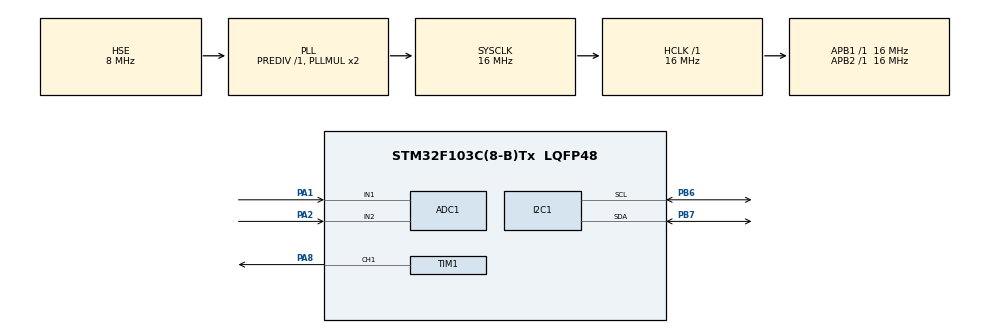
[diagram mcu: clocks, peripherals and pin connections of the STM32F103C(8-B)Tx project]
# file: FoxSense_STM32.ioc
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ADC1.Channel-2\#ChannelRegularConversion=ADC_CHANNEL_1
ADC1.Channel-3\#ChannelRegularConversion=ADC_CHANNEL_2
ADC1.ExternalTrigConv=ADC_EXTERNALTRIGCONV_T1_CC1
ADC1.NbrOfConversion=2
ADC1.NbrOfConversionFlag=1
ADC1.Rank-2\#ChannelRegularConversion=1
ADC1.Rank-3\#ChannelRegularConversion=2
ADC1.SamplingTime-2\#ChannelRegularConversion=ADC_SAMPLETIME_41CYCLES_5
ADC1.SamplingTime-3\#ChannelRegularConversion=ADC_SAMPLETIME_41CYCLES_5
ADC1.master=1
Dma.ADC1.0.Direction=DMA_PERIPH_TO_MEMORY
Dma.ADC1.0.Instance=DMA1_Channel1
Dma.ADC1.0.MemDataAlignment=DMA_MDATAALIGN_HALFWORD
Dma.ADC1.0.MemInc=DMA_MINC_ENABLE
Dma.ADC1.0.Mode=DMA_CIRCULAR
Dma.ADC1.0.PeriphDataAlignment=DMA_PDATAALIGN_HALFWORD
Dma.ADC1.0.PeriphInc=DMA_PINC_DISABLE
Dma.ADC1.0.Priority=DMA_PRIORITY_LOW
Dma.Request0=ADC1
I2C1.I2C_Mode=I2C_Fast
Mcu.Family=STM32F1
Mcu.Name=STM32F103C(8-B)Tx
Mcu.Package=LQFP48
NVIC.DMA1_Channel1_IRQn=true\:0\:0\:false\:false\:true\:false\:true\:true
NVIC.PriorityGroup=NVIC_PRIORITYGROUP_4
PA1.Signal=ADCx_IN1
PA13.Mode=Serial_Wire
PA13.Signal=SYS_JTMS-SWDIO
PA14.Mode=Serial_Wire
PA14.Signal=SYS_JTCK-SWCLK
PA2.Signal=ADCx_IN2
PA8.Signal=S_TIM1_CH1
PB6.Mode=I2C
PB6.Signal=I2C1_SCL
PB7.Mode=I2C
PB7.Signal=I2C1_SDA
PD0-OSC_IN.Mode=HSE-External-Oscillator
PD0-OSC_IN.Signal=RCC_OSC_IN
PD1-OSC_OUT.Mode=HSE-External-Oscillator
PD1-OSC_OUT.Signal=RCC_OSC_OUT
ProjectManager.HeapSize=0x200
ProjectManager.StackSize=0x400
ProjectManager.TargetToolchain=STM32CubeIDE
RCC.ADCPresc=RCC_ADCPCLK2_DIV8
RCC.AHBFreq_Value=16000000
RCC.APB1Freq_Value=16000000
RCC.APB1TimFreq_Value=16000000
RCC.APB2Freq_Value=16000000
RCC.APB2TimFreq_Value=16000000
RCC.HCLKFreq_Value=16000000
RCC.PLLSourceVirtual=RCC_PLLSOURCE_HSE
RCC.SYSCLKFreq_VALUE=16000000
RCC.SYSCLKSource=RCC_SYSCLKSOURCE_PLLCLK
RCC.USBFreq_Value=16000000
SH.ADCx_IN1.0=ADC1_IN1,IN1
SH.ADCx_IN2.0=ADC1_IN2,IN2
SH.S_TIM1_CH1.0=TIM1_CH1,PWM Generation1 CH1
TIM1.Channel-PWM\ Generation1\ CH1=TIM_CHANNEL_1
TIM1.Period=1000-1
TIM1.Prescaler=8000-1
TIM1.Pulse-PWM\ Generation1\ CH1=1000/2
board=custom

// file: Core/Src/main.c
/* USER CODE BEGIN Header */
/**
  ******************************************************************************
  * @file           : main.c
  * @brief          : Main program body
  ******************************************************************************
  * @attention
  *
  * Copyright (c) 2026 STMicroelectronics.
  * All rights reserved.
  *
  * This software is licensed under terms that can be found in the LICENSE file
  * in the root directory of this software component.
  * If no LICENSE file comes with this software, it is provided AS-IS.
  *
  ******************************************************************************
  */
/* USER CODE END Header */
#include "main.h"

/* USER CODE BEGIN Includes */
#include "ssd1306.h"		//OLED Driver
#include "fonts.h"			//used for writing text on OLED
#include "stdio.h"			//used for sprintf() function

#include "degree_C.h"		//°C image
#include "bulb.h"			//bulb image
#include "moon.h"			//moon image

/* USER CODE END Includes */

ADC_HandleTypeDef hadc1;
DMA_HandleTypeDef hdma_adc1;

I2C_HandleTypeDef hi2c1;

TIM_HandleTypeDef htim1;

/* USER CODE BEGIN PV */
uint16_t ADC_Values[2];				// this array Stores ADC numbers 0-4095
uint16_t Temperature_Array[5];		// this array will be used to calculate average of Temperature
uint8_t i = 0;						// this is the temperature counter index
uint16_t Temperature;				// Stores LM35 output (temperature sensor) in ° Celsius
uint16_t Light_intensity;			// Stores light intensity in percent

char buffer[6];						// it is used to show temperature on OLED

/* USER CODE END PV */

void SystemClock_Config(void);
static void MX_GPIO_Init(void);
static void MX_DMA_Init(void);
static void MX_ADC1_Init(void);
static void MX_TIM1_Init(void);
static void MX_I2C1_Init(void);

int main(void)
{

  /* MCU Configuration--------------------------------------------------------*/

  /* Reset of all peripherals, Initializes the Flash interface and the Systick. */
  HAL_Init();

  /* Configure the system clock */
  SystemClock_Config();

  /* Initialize all configured peripherals */
  MX_GPIO_Init();
  MX_DMA_Init();
  MX_ADC1_Init();
  MX_TIM1_Init();
  MX_I2C1_Init();
  /* USER CODE BEGIN 2 */
  SSD1306_Init();
  /* USER CODE END 2 */

  /* Infinite loop */
  /* USER CODE BEGIN WHILE */
  while (1)
  {
	  //---Show temperature on OLED-------
	  sprintf(buffer, "%d", Temperature);
	  SSD1306_GotoXY (5,25);
	  SSD1306_Puts(buffer, &Font_16x26, 1);

	  //---Show °C image on OLED-------
	  SSD1306_DrawBitmap(0, 0, degree_C, 128, 64, 1);

	  //---Show bulb/moon image on OLED
	  if(Light_intensity > 30)						//if there is enough lights
	  SSD1306_DrawBitmap(0, 0, bulb, 128, 64, 1);

	  if(Light_intensity <= 30)						//if the environment is dark
	  SSD1306_DrawBitmap(0, 0, moon, 128, 64, 1);

	  //---Refresh the screen-------
	  SSD1306_UpdateScreen();
	  HAL_Delay(1000);
	  SSD1306_Clear();
    /* USER CODE END WHILE */

  }
}

void SystemClock_Config(void)
{
  RCC_OscInitTypeDef RCC_OscInitStruct = {0};
  RCC_ClkInitTypeDef RCC_ClkInitStruct = {0};
  RCC_PeriphCLKInitTypeDef PeriphClkInit = {0};

  /** Initializes the RCC Oscillators according to the specified parameters
  * in the RCC_OscInitTypeDef structure.
  */
  RCC_OscInitStruct.OscillatorType = RCC_OSCILLATORTYPE_HSE;
  RCC_OscInitStruct.HSEState = RCC_HSE_ON;
  RCC_OscInitStruct.HSEPredivValue = RCC_HSE_PREDIV_DIV1;
  RCC_OscInitStruct.HSIState = RCC_HSI_ON;
  RCC_OscInitStruct.PLL.PLLState = RCC_PLL_ON;
  RCC_OscInitStruct.PLL.PLLSource = RCC_PLLSOURCE_HSE;
  RCC_OscInitStruct.PLL.PLLMUL = RCC_PLL_MUL2;
  if (HAL_RCC_OscConfig(&RCC_OscInitStruct) != HAL_OK)
  {
    Error_Handler();
  }

  /** Initializes the CPU, AHB and APB buses clocks
  */
  RCC_ClkInitStruct.ClockType = RCC_CLOCKTYPE_HCLK|RCC_CLOCKTYPE_SYSCLK
                              |RCC_CLOCKTYPE_PCLK1|RCC_CLOCKTYPE_PCLK2;
  RCC_ClkInitStruct.SYSCLKSource = RCC_SYSCLKSOURCE_PLLCLK;
  RCC_ClkInitStruct.AHBCLKDivider = RCC_SYSCLK_DIV1;
  RCC_ClkInitStruct.APB1CLKDivider = RCC_HCLK_DIV1;
  RCC_ClkInitStruct.APB2CLKDivider = RCC_HCLK_DIV1;

  if (HAL_RCC_ClockConfig(&RCC_ClkInitStruct, FLASH_LATENCY_0) != HAL_OK)
  {
    Error_Handler();
  }
  PeriphClkInit.PeriphClockSelection = RCC_PERIPHCLK_ADC;
  PeriphClkInit.AdcClockSelection = RCC_ADCPCLK2_DIV8;
  if (HAL_RCCEx_PeriphCLKConfig(&PeriphClkInit) != HAL_OK)
  {
    Error_Handler();
  }
}

static void MX_ADC1_Init(void)
{

  ADC_ChannelConfTypeDef sConfig = {0};

  /** Common config
  */
  hadc1.Instance = ADC1;
  hadc1.Init.ScanConvMode = ADC_SCAN_ENABLE;
  hadc1.Init.ContinuousConvMode = DISABLE;
  hadc1.Init.DiscontinuousConvMode = DISABLE;
  hadc1.Init.ExternalTrigConv = ADC_EXTERNALTRIGCONV_T1_CC1;
  hadc1.Init.DataAlign = ADC_DATAALIGN_RIGHT;
  hadc1.Init.NbrOfConversion = 2;
  if (HAL_ADC_Init(&hadc1) != HAL_OK)
  {
    Error_Handler();
  }

  /** Configure Regular Channel
  */
  sConfig.Channel = ADC_CHANNEL_1;
  sConfig.Rank = ADC_REGULAR_RANK_1;
  sConfig.SamplingTime = ADC_SAMPLETIME_41CYCLES_5;
  if (HAL_ADC_ConfigChannel(&hadc1, &sConfig) != HAL_OK)
  {
    Error_Handler();
  }

  /** Configure Regular Channel
  */
  sConfig.Channel = ADC_CHANNEL_2;
  sConfig.Rank = ADC_REGULAR_RANK_2;
  if (HAL_ADC_ConfigChannel(&hadc1, &sConfig) != HAL_OK)
  {
    Error_Handler();
  }
  /* USER CODE BEGIN ADC1_Init 2 */
  HAL_ADC_Start_DMA(&hadc1,(uint32_t *) ADC_Values, 2);
  /* USER CODE END ADC1_Init 2 */

}

static void MX_I2C1_Init(void)
{

  hi2c1.Instance = I2C1;
  hi2c1.Init.ClockSpeed = 400000;
  hi2c1.Init.DutyCycle = I2C_DUTYCYCLE_2;
  hi2c1.Init.OwnAddress1 = 0;
  hi2c1.Init.AddressingMode = I2C_ADDRESSINGMODE_7BIT;
  hi2c1.Init.DualAddressMode = I2C_DUALADDRESS_DISABLE;
  hi2c1.Init.OwnAddress2 = 0;
  hi2c1.Init.GeneralCallMode = I2C_GENERALCALL_DISABLE;
  hi2c1.Init.NoStretchMode = I2C_NOSTRETCH_DISABLE;
  if (HAL_I2C_Init(&hi2c1) != HAL_OK)
  {
    Error_Handler();
  }

}

static void MX_TIM1_Init(void)
{

  TIM_MasterConfigTypeDef sMasterConfig = {0};
  TIM_OC_InitTypeDef sConfigOC = {0};
  TIM_BreakDeadTimeConfigTypeDef sBreakDeadTimeConfig = {0};

  htim1.Instance = TIM1;
  htim1.Init.Prescaler = 8000-1;
  htim1.Init.CounterMode = TIM_COUNTERMODE_UP;
  htim1.Init.Period = 1000-1;
  htim1.Init.ClockDivision = TIM_CLOCKDIVISION_DIV1;
  htim1.Init.RepetitionCounter = 0;
  htim1.Init.AutoReloadPreload = TIM_AUTORELOAD_PRELOAD_DISABLE;
  if (HAL_TIM_PWM_Init(&htim1) != HAL_OK)
  {
    Error_Handler();
  }
  sMasterConfig.MasterOutputTrigger = TIM_TRGO_RESET;
  sMasterConfig.MasterSlaveMode = TIM_MASTERSLAVEMODE_DISABLE;
  if (HAL_TIMEx_MasterConfigSynchronization(&htim1, &sMasterConfig) != HAL_OK)
  {
    Error_Handler();
  }
  sConfigOC.OCMode = TIM_OCMODE_PWM1;
  sConfigOC.Pulse = 1000/2;
  sConfigOC.OCPolarity = TIM_OCPOLARITY_HIGH;
  sConfigOC.OCNPolarity = TIM_OCNPOLARITY_HIGH;
  sConfigOC.OCFastMode = TIM_OCFAST_DISABLE;
  sConfigOC.OCIdleState = TIM_OCIDLESTATE_RESET;
  sConfigOC.OCNIdleState = TIM_OCNIDLESTATE_RESET;
  if (HAL_TIM_PWM_ConfigChannel(&htim1, &sConfigOC, TIM_CHANNEL_1) != HAL_OK)
  {
    Error_Handler();
  }
  sBreakDeadTimeConfig.OffStateRunMode = TIM_OSSR_DISABLE;
  sBreakDeadTimeConfig.OffStateIDLEMode = TIM_OSSI_DISABLE;
  sBreakDeadTimeConfig.LockLevel = TIM_LOCKLEVEL_OFF;
  sBreakDeadTimeConfig.DeadTime = 0;
  sBreakDeadTimeConfig.BreakState = TIM_BREAK_DISABLE;
  sBreakDeadTimeConfig.BreakPolarity = TIM_BREAKPOLARITY_HIGH;
  sBreakDeadTimeConfig.AutomaticOutput = TIM_AUTOMATICOUTPUT_DISABLE;
  if (HAL_TIMEx_ConfigBreakDeadTime(&htim1, &sBreakDeadTimeConfig) != HAL_OK)
  {
    Error_Handler();
  }
  /* USER CODE BEGIN TIM1_Init 2 */
  HAL_TIM_PWM_Start(&htim1, TIM_CHANNEL_1);
  /* USER CODE END TIM1_Init 2 */
  HAL_TIM_MspPostInit(&htim1);

}

static void MX_DMA_Init(void)
{

  /* DMA controller clock enable */
  __HAL_RCC_DMA1_CLK_ENABLE();

  /* DMA interrupt init */
  /* DMA1_Channel1_IRQn interrupt configuration */
  HAL_NVIC_SetPriority(DMA1_Channel1_IRQn, 0, 0);
  HAL_NVIC_EnableIRQ(DMA1_Channel1_IRQn);

}

static void MX_GPIO_Init(void)
{

  /* GPIO Ports Clock Enable */
  __HAL_RCC_GPIOD_CLK_ENABLE();
  __HAL_RCC_GPIOA_CLK_ENABLE();
  __HAL_RCC_GPIOB_CLK_ENABLE();

}

/* USER CODE BEGIN 4 */
void HAL_ADC_ConvCpltCallback(ADC_HandleTypeDef* hadc)
{
	//---Taking Average of calculated temperature---
	Temperature_Array[i]		= ADC_Values[0] * 3300 / 4095 / 10;			// ( * 3300 / 4095) converts it to mV, ( / 10) is slope of LM35
	i++;
	if(i == 5)
	{i = 0;}

	Temperature = ( Temperature_Array[0] + Temperature_Array[1] + Temperature_Array[2]+ Temperature_Array[3]+ Temperature_Array[4] ) / 5;

	//---storing light intensity value---
	Light_intensity = ADC_Values[1] * 100 / 4095;				// converts the 12-bit number into a number in percent
}
/* USER CODE END 4 */

void Error_Handler(void)
{
  __disable_irq();
  while (1)
  {
  }
}
